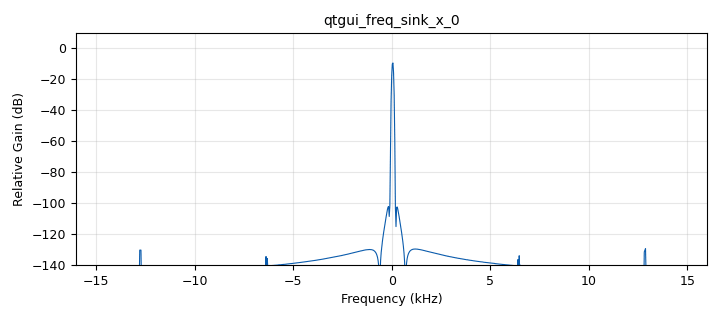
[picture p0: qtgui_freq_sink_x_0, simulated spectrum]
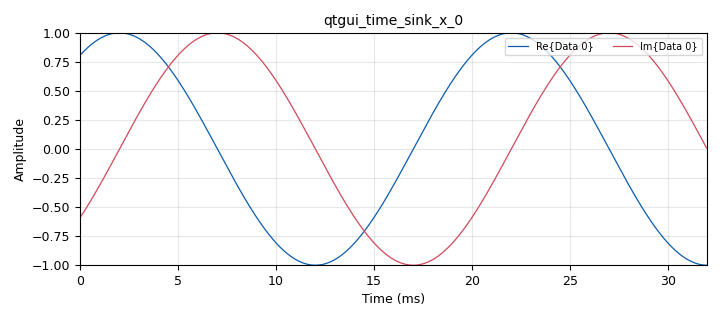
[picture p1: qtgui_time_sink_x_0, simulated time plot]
options:
  parameters:
    generate_options: qt_gui
    id: sineWaveFlowgraph
    output_language: python
    title: First Flowgraph
  states: {}

blocks:
- name: amplitude
  id: variable_qtgui_range
  parameters:
    start: '0'
    step: '1'
    stop: '10'
    value: '1'
  states: {}
- name: frequency
  id: variable_qtgui_range
  parameters:
    start: '0'
    step: '50'
    stop: '1000'
    value: '50'
  states: {}
- name: samp_rate
  id: variable
  parameters:
    value: '32000'
  states: {}
- name: analog_sig_source_x_0
  id: analog_sig_source_x
  parameters:
    amp: amplitude
    freq: frequency
    offset: '0'
    phase: '0'
    samp_rate: samp_rate
    type: complex
    waveform: analog.GR_COS_WAVE
  states: {}
- name: blocks_throttle_0
  id: blocks_throttle
  parameters:
    samples_per_second: samp_rate
    type: complex
  states: {}
- name: qtgui_freq_sink_x_0
  id: qtgui_freq_sink_x
  parameters:
    bw: samp_rate
    fc: '0'
    fftsize: '1024'
    type: complex
  states: {}
- name: qtgui_time_sink_x_0
  id: qtgui_time_sink_x
  parameters:
    size: '1024'
    srate: samp_rate
    type: complex
  states: {}

connections:
- [analog_sig_source_x_0, '0', blocks_throttle_0, '0']
- [blocks_throttle_0, '0', qtgui_freq_sink_x_0, '0']
- [blocks_throttle_0, '0', qtgui_time_sink_x_0, '0']

metadata:
  file_format: 1
